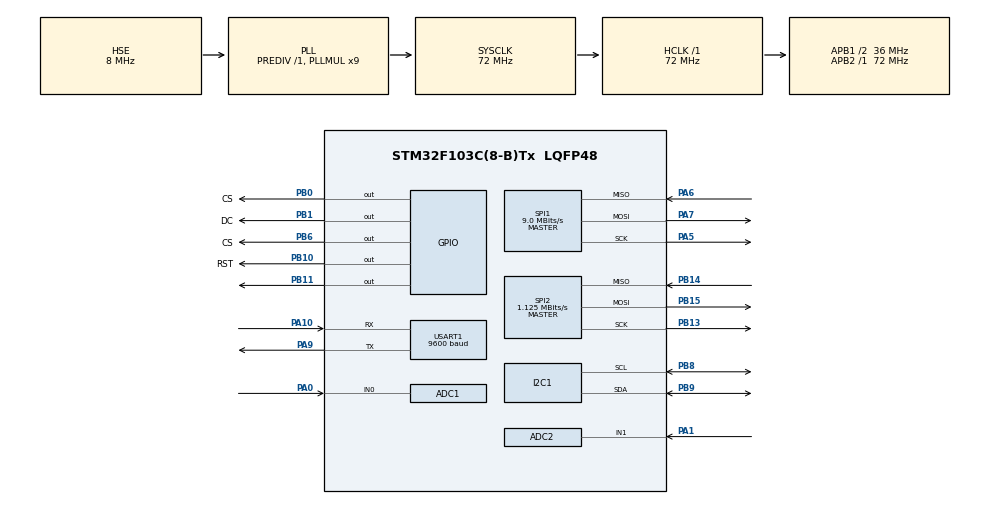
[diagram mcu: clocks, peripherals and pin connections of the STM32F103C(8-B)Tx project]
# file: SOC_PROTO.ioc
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ADC1.Channel-0\#ChannelRegularConversion=ADC_CHANNEL_0
ADC1.ContinuousConvMode=ENABLE
ADC1.NbrOfConversion=1
ADC1.NbrOfConversionFlag=1
ADC1.Rank-0\#ChannelRegularConversion=1
ADC1.SamplingTime-0\#ChannelRegularConversion=ADC_SAMPLETIME_71CYCLES_5
ADC1.master=1
ADC2.Channel-3\#ChannelRegularConversion=ADC_CHANNEL_1
ADC2.ContinuousConvMode=ENABLE
ADC2.NbrOfConversionFlag=1
ADC2.Rank-3\#ChannelRegularConversion=1
ADC2.SamplingTime-3\#ChannelRegularConversion=ADC_SAMPLETIME_71CYCLES_5
Dma.Request0=SPI2_RX
Dma.Request1=SPI2_TX
Dma.SPI2_RX.0.Direction=DMA_PERIPH_TO_MEMORY
Dma.SPI2_RX.0.Instance=DMA1_Channel4
Dma.SPI2_RX.0.MemDataAlignment=DMA_MDATAALIGN_BYTE
Dma.SPI2_RX.0.MemInc=DMA_MINC_ENABLE
Dma.SPI2_RX.0.Mode=DMA_NORMAL
Dma.SPI2_RX.0.PeriphDataAlignment=DMA_PDATAALIGN_BYTE
Dma.SPI2_RX.0.PeriphInc=DMA_PINC_DISABLE
Dma.SPI2_RX.0.Priority=DMA_PRIORITY_LOW
Dma.SPI2_TX.1.Direction=DMA_MEMORY_TO_PERIPH
Dma.SPI2_TX.1.Instance=DMA1_Channel5
Dma.SPI2_TX.1.MemDataAlignment=DMA_MDATAALIGN_BYTE
Dma.SPI2_TX.1.MemInc=DMA_MINC_ENABLE
Dma.SPI2_TX.1.Mode=DMA_NORMAL
Dma.SPI2_TX.1.PeriphDataAlignment=DMA_PDATAALIGN_BYTE
Dma.SPI2_TX.1.PeriphInc=DMA_PINC_DISABLE
Dma.SPI2_TX.1.Priority=DMA_PRIORITY_LOW
FATFS._USE_LABEL=1
FATFS._USE_LFN=3
Mcu.Family=STM32F1
Mcu.Name=STM32F103C(8-B)Tx
Mcu.Package=LQFP48
NVIC.DMA1_Channel4_IRQn=true\:0\:0\:false\:false\:true\:false\:true\:true
NVIC.DMA1_Channel5_IRQn=true\:0\:0\:false\:false\:true\:false\:true\:true
NVIC.PriorityGroup=NVIC_PRIORITYGROUP_4
PA0-WKUP.Signal=ADCx_IN0
PA1.Signal=ADCx_IN1
PA10.Mode=Asynchronous
PA10.Signal=USART1_RX
PA13.Mode=Serial_Wire
PA13.Signal=SYS_JTMS-SWDIO
PA14.Mode=Serial_Wire
PA14.Signal=SYS_JTCK-SWCLK
PA5.Mode=Full_Duplex_Master
PA5.Signal=SPI1_SCK
PA6.Mode=Full_Duplex_Master
PA6.Signal=SPI1_MISO
PA7.Mode=Full_Duplex_Master
PA7.Signal=SPI1_MOSI
PA9.Mode=Asynchronous
PA9.Signal=USART1_TX
PB0.GPIO_Label=CS
PB0.Signal=GPIO_Output
PB1.GPIO_Label=DC
PB1.Signal=GPIO_Output
PB10.GPIO_Label=RST
PB10.Signal=GPIO_Output
PB11.Signal=GPIO_Output
PB13.Mode=Full_Duplex_Master
PB13.Signal=SPI2_SCK
PB14.Mode=Full_Duplex_Master
PB14.Signal=SPI2_MISO
PB15.Mode=Full_Duplex_Master
PB15.Signal=SPI2_MOSI
PB6.GPIO_Label=CS
PB6.GPIO_Speed=GPIO_SPEED_FREQ_HIGH
PB6.PinState=GPIO_PIN_SET
PB6.Signal=GPIO_Output
PB8.Mode=I2C
PB8.Signal=I2C1_SCL
PB9.Mode=I2C
PB9.Signal=I2C1_SDA
PD0-OSC_IN.Mode=HSE-External-Oscillator
PD0-OSC_IN.Signal=RCC_OSC_IN
PD1-OSC_OUT.Mode=HSE-External-Oscillator
PD1-OSC_OUT.Signal=RCC_OSC_OUT
ProjectManager.HeapSize=0x200
ProjectManager.StackSize=0x400
ProjectManager.TargetToolchain=STM32CubeIDE
RCC.ADCPresc=RCC_ADCPCLK2_DIV6
RCC.AHBFreq_Value=72000000
RCC.APB1CLKDivider=RCC_HCLK_DIV2
RCC.APB1Freq_Value=36000000
RCC.APB1TimFreq_Value=72000000
RCC.APB2Freq_Value=72000000
RCC.APB2TimFreq_Value=72000000
RCC.HCLKFreq_Value=72000000
RCC.PLLMUL=RCC_PLL_MUL9
RCC.PLLSourceVirtual=RCC_PLLSOURCE_HSE
RCC.SYSCLKFreq_VALUE=72000000
RCC.SYSCLKSource=RCC_SYSCLKSOURCE_PLLCLK
RCC.USBFreq_Value=72000000
SH.ADCx_IN0.0=ADC1_IN0,IN0
SH.ADCx_IN1.0=ADC2_IN1,IN1
SPI1.BaudRatePrescaler=SPI_BAUDRATEPRESCALER_8
SPI1.CalculateBaudRate=9.0 MBits/s
SPI1.Direction=SPI_DIRECTION_2LINES
SPI1.Mode=SPI_MODE_MASTER
SPI1.VirtualType=VM_MASTER
SPI2.BaudRatePrescaler=SPI_BAUDRATEPRESCALER_32
SPI2.CalculateBaudRate=1.125 MBits/s
SPI2.Direction=SPI_DIRECTION_2LINES
SPI2.Mode=SPI_MODE_MASTER
SPI2.VirtualType=VM_MASTER
USART1.BaudRate=9600
USART1.VirtualMode=VM_ASYNC
VP_FATFS_VS_Generic.Mode=User_defined
board=custom

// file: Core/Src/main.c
/* USER CODE BEGIN Header */
/**
  ******************************************************************************
  * @file           : main.c
  ******************************************************************************
  * @attention
  *
  * Copyright (c) 2026 STMicroelectronics.
  * All rights reserved.
  *
  * This software is licensed under terms that can be found in the LICENSE file
  * in the root directory of this software component.
  * If no LICENSE file comes with this software, it is provided AS-IS.
  *
  ******************************************************************************
  */
/* USER CODE END Header */
#include "main.h"
#include "fatfs.h"

/* USER CODE BEGIN Includes */
#include "sd_functions.h"
#include "sd_spi.h"
#include "ekf_soc.h"
#include "tjc_hmi.h"
#include <stdio.h>
#include <string.h>
#include <math.h>
/* USER CODE END Includes */

/* USER CODE BEGIN PD */

#define HMI_REFRESH_INTERVAL_MS  1000U

/* adjustable: ADC / sensor scaling */
#define ADC_VREF                3.3f
#define ADC_MAX_COUNT           4095.0f
#define ADC_OVERSAMPLE_COUNT    64

#define VOLTAGE_DIVIDER_R1      180000.0f
#define VOLTAGE_DIVIDER_R2      10000.0f
#define VOLTAGE_DIVIDER_RATIO   ((VOLTAGE_DIVIDER_R1 + VOLTAGE_DIVIDER_R2) / VOLTAGE_DIVIDER_R2)

#define CURRENT_SENSOR_OFFSET       1.690f
#define CURRENT_SENSOR_SENSITIVITY  (0.033f * (3.3f/5.0f))

/* Pack LiFePO4 4S 100Ah (12.8 V nominal, 10.0-14.6 V operating range). */
#define BATT_CAPACITY_AH        100.0f  /* kapasitas nominal pack (Ah) */
#define BATT_RS_OHM             0.005f  /* estimasi resistansi pack 4S 100Ah (sel ~0.5 mOhm x4 + busbar/kabel/BMS); ukur untuk tuning */
#define VBATT_MIN_VALID         6.0f    /* di bawah ini dianggap baterai belum terpasang */

/* adjustable: re-sync SOC dari OCV saat baterai istirahat (anti SOC "terkunci") */
#define REST_CURRENT_A          2.0f    /* |I| di bawah ini dianggap istirahat (~C/50) */
#define REST_RESYNC_MS          30000U  /* lama istirahat sebelum dicek */
#define RESYNC_SOC_ERR          0.05f   /* beda SOC EKF vs OCV minimal utk re-sync (5%) */
#define RESYNC_EDGE_LO          0.25f   /* re-sync hanya di ujung kurva (OCV informatif), */
#define RESYNC_EDGE_HI          0.85f   /* bukan di tengah plateau LFP yang datar */

/* adjustable: SD card init */
#define SD_POWERUP_DELAY_MS     300
#define SD_INIT_RETRIES         5
#define SD_RETRY_DELAY_MS       200

/* adjustable: EMA smoothing */
#define VOLTAGE_EMA_ALPHA       0.08f
#define CURRENT_EMA_ALPHA       0.04f

/* adjustable: SD logger timing */
#define LOG_FILENAME             "LOG.CSV"
#define LOG_BUFFER_SAMPLES       1
#define LOG_LINE_MAXLEN          80
#define LOG_SYNC_EVERY_FLUSH     1
#define LOG_SAMPLE_DIV           100

/* adjustable: auto-zero sample count */
#define AUTOZERO_SAMPLES        500
#define AUTOZERO_FALLBACK       CURRENT_SENSOR_OFFSET

/* USER CODE END PD */

ADC_HandleTypeDef hadc1;
ADC_HandleTypeDef hadc2;

I2C_HandleTypeDef hi2c1;

SPI_HandleTypeDef hspi1;
SPI_HandleTypeDef hspi2;
DMA_HandleTypeDef hdma_spi2_rx;
DMA_HandleTypeDef hdma_spi2_tx;

UART_HandleTypeDef huart1;

/* USER CODE BEGIN PV */
volatile float voltage = 0.0f;
volatile float current = 0.0f;
volatile float soc_pct = 0.0f;   /* SOC (%) untuk Live Expressions */
volatile float soh_pct = 100.0f; /* SOH (%) */
volatile float v_internal_bat = 0.0f;
volatile uint8_t sys_bat_pct = 100;
volatile float vAdc2Raw = 0.0f;
static float adc1VoltFiltered = 0.0f;
static float adc2VoltFiltered = 0.0f;
static uint8_t emaInitialized = 0;
static float currentSensorOffset = AUTOZERO_FALLBACK;

static FIL      logFile;
static uint8_t  sdReady = 0;
static char     logChunk[LOG_BUFFER_SAMPLES * LOG_LINE_MAXLEN];
static uint16_t logChunkLen = 0;
static uint8_t  logSampleCount = 0;
static uint16_t logFlushCount = 0;
static uint32_t logTotalSamples = 0;
static uint32_t logTickOffset   = 0;

static char sdStatusStr[10] = "UNKNOWN";

static EKF_SOC_HandleTypeDef hekfSoc;
static uint32_t ekfLastTick = 0;
static uint32_t restStartTick = 0;

/* USER CODE END PV */

void SystemClock_Config(void);
static void MX_GPIO_Init(void);
static void MX_DMA_Init(void);
static void MX_ADC1_Init(void);
static void MX_ADC2_Init(void);
static void MX_SPI1_Init(void);
static void MX_SPI2_Init(void);
static void MX_USART1_UART_Init(void);
static void MX_I2C1_Init(void);
/* USER CODE BEGIN PFP */

static uint16_t ADC_ReadChannelAveraged(ADC_HandleTypeDef *hadc, uint32_t channel);
static void     FloatToStr(float value, char *buf, uint8_t decimals);
static uint8_t  SD_Logger_Init(void);
static void     SD_Logger_AddSample(float v, float i, float soc_pct);
static void     SD_Logger_Flush(void);
static void     AutoZero_Compute(void);
static void     EKF_SOC_ConfigureModel(EKF_SOC_HandleTypeDef *hekf);
static float    SocFromOcv_LUT(float v_pack);
/* USER CODE END PFP */

int main(void)
{

  /* USER CODE BEGIN 1 */
  uint16_t logSampleCounter = 0;
  uint32_t hmiLastRefresh = 0;
  /* USER CODE END 1 */

  /* MCU Configuration--------------------------------------------------------*/

  /* Reset of all peripherals, Initializes the Flash interface and the Systick. */
  HAL_Init();

  /* Configure the system clock */
  SystemClock_Config();

  /* Initialize all configured peripherals */
  MX_GPIO_Init();
  MX_DMA_Init();
  MX_ADC1_Init();
  MX_ADC2_Init();
  MX_SPI1_Init();
  MX_SPI2_Init();
  MX_USART1_UART_Init();
  MX_I2C1_Init();
  /* USER CODE BEGIN 2 */
  HAL_ADCEx_Calibration_Start(&hadc1);
  HAL_ADCEx_Calibration_Start(&hadc2);

  (void)TJC_HMI_DrawMonitor(0.0f, 0.0f, 0.0f, 100.0f, 100, 0U, sdStatusStr, "INIT");

  sdReady = SD_Logger_Init();
  HAL_Delay(600);

  (void)TJC_HMI_SetStatus("CALIB");
  AutoZero_Compute();
  (void)TJC_HMI_SetStatus("START");

  HAL_Delay(1000);

  /* EKF: ConfigureModel must run before Init */
  EKF_SOC_ConfigureModel(&hekfSoc);
  {
      uint16_t raw_soc_adc = ADC_ReadChannelAveraged(&hadc1, ADC_CHANNEL_0);
      adc1VoltFiltered = (float)raw_soc_adc * ADC_VREF / ADC_MAX_COUNT;
      adc2VoltFiltered = (float)ADC_ReadChannelAveraged(&hadc2, ADC_CHANNEL_1) * ADC_VREF / ADC_MAX_COUNT;
      emaInitialized = 1U;
      float v0   = adc1VoltFiltered * VOLTAGE_DIVIDER_RATIO;
      float soc0 = SocFromOcv_LUT(v0);   /* FIX: SOC awal dari tabel OCV LiFePO4 (bukan inversi polinomial) */
      float x0[2] = { 0.0f, soc0 };
      EKF_SOC_Init(&hekfSoc, x0);
  }
  ekfLastTick = HAL_GetTick();
  (void)TJC_HMI_SetStatus("READY");

  /* USER CODE END 2 */

  /* Infinite loop */
  /* USER CODE BEGIN WHILE */
  while (1)
  {
    uint16_t raw1 = ADC_ReadChannelAveraged(&hadc1, ADC_CHANNEL_0);
    uint16_t raw2 = ADC_ReadChannelAveraged(&hadc2, ADC_CHANNEL_1);

    float adc1Raw = (float)raw1 * ADC_VREF / ADC_MAX_COUNT;
    float adc2Raw = (float)raw2 * ADC_VREF / ADC_MAX_COUNT;

    if (!emaInitialized) {
        adc1VoltFiltered = adc1Raw;
        adc2VoltFiltered = adc2Raw;
        emaInitialized = 1;
    } else {
        adc1VoltFiltered += VOLTAGE_EMA_ALPHA * (adc1Raw - adc1VoltFiltered);
        adc2VoltFiltered += CURRENT_EMA_ALPHA * (adc2Raw - adc2VoltFiltered);
    }

    /* Read Internal System Battery on PA2 (10k+10k divider -> 2.0x) */
    {
        uint16_t raw_int = ADC_ReadChannelAveraged(&hadc1, ADC_CHANNEL_2);
        float v_pin2 = (float)raw_int * ADC_VREF / ADC_MAX_COUNT;
        v_internal_bat = v_pin2 * 2.0f;
        if (v_internal_bat >= 4.20f) sys_bat_pct = 100;
        else if (v_internal_bat <= 3.00f) sys_bat_pct = 0;
        else sys_bat_pct = (uint8_t)((v_internal_bat - 3.00f) / (4.20f - 3.00f) * 100.0f);
    }

    voltage  = adc1VoltFiltered * VOLTAGE_DIVIDER_RATIO;
    vAdc2Raw = adc2VoltFiltered;
    current  = (vAdc2Raw - currentSensorOffset) / CURRENT_SENSOR_SENSITIVITY;

    {
        uint32_t nowTick = HAL_GetTick();
        float Ts = (float)(nowTick - ekfLastTick) / 1000.0f;
        ekfLastTick = nowTick;
        if (Ts <= 0.0f) Ts = 0.01f;

        /* FIX: abaikan transien saat baterai belum terpasang / tegangan belum valid */
        if (voltage > VBATT_MIN_VALID)
            EKF_SOC_Update(&hekfSoc, current, voltage, Ts);

        /* FIX: re-sync SOC dari OCV bila istirahat lama & SOC EKF menyimpang jauh.
           Tanpa ini EKF bisa "terkunci" di SOC salah (P sudah mengecil, selisih tegangan
           diserap state Vc1). Hanya aktif di ujung kurva OCV (<25% atau >85%). */
        if (voltage > VBATT_MIN_VALID && fabsf(current) < REST_CURRENT_A) {
            if (restStartTick == 0U) restStartTick = nowTick;
            if ((nowTick - restStartTick) >= REST_RESYNC_MS) {
                float socV = SocFromOcv_LUT(voltage);
                float socE = EKF_SOC_GetSoC(&hekfSoc);
                if ((socV < RESYNC_EDGE_LO || socV > RESYNC_EDGE_HI) &&
                    fabsf(socV - socE) > RESYNC_SOC_ERR) {
                    static const float P0[4] = { 0.0001f, 0.0f, 0.0f, 0.01f };
                    EKF_SOC_Reset(&hekfSoc, socV, P0);
                }
                restStartTick = nowTick;   /* cek lagi 30 detik berikutnya */
            }
        } else {
            restStartTick = 0U;
        }

        soc_pct = EKF_SOC_GetSoC(&hekfSoc) * 100.0f;
        if (soc_pct < 0.0f)   soc_pct = 0.0f;
        if (soc_pct > 100.0f) soc_pct = 100.0f;
    }

    if ((HAL_GetTick() - hmiLastRefresh) >= HMI_REFRESH_INTERVAL_MS) {
        hmiLastRefresh = HAL_GetTick();
        (void)TJC_HMI_DrawMonitor(voltage, current, soc_pct, soh_pct, sys_bat_pct,
                                  logTotalSamples, sdStatusStr, "READY");
    }

    if (++logSampleCounter >= LOG_SAMPLE_DIV) {
        logSampleCounter = 0;
        SD_Logger_AddSample(voltage, current, soc_pct);
    }

    HAL_Delay(10);
    /* USER CODE END WHILE */

  }
}

void SystemClock_Config(void)
{
  RCC_OscInitTypeDef RCC_OscInitStruct = {0};
  RCC_ClkInitTypeDef RCC_ClkInitStruct = {0};
  RCC_PeriphCLKInitTypeDef PeriphClkInit = {0};

  /** Initializes the RCC Oscillators according to the specified parameters
  * in the RCC_OscInitTypeDef structure.
  */
  RCC_OscInitStruct.OscillatorType = RCC_OSCILLATORTYPE_HSE;
  RCC_OscInitStruct.HSEState = RCC_HSE_ON;
  RCC_OscInitStruct.HSEPredivValue = RCC_HSE_PREDIV_DIV1;
  RCC_OscInitStruct.HSIState = RCC_HSI_ON;
  RCC_OscInitStruct.PLL.PLLState = RCC_PLL_ON;
  RCC_OscInitStruct.PLL.PLLSource = RCC_PLLSOURCE_HSE;
  RCC_OscInitStruct.PLL.PLLMUL = RCC_PLL_MUL9;
  if (HAL_RCC_OscConfig(&RCC_OscInitStruct) != HAL_OK)
  {
    Error_Handler();
  }

  /** Initializes the CPU, AHB and APB buses clocks
  */
  RCC_ClkInitStruct.ClockType = RCC_CLOCKTYPE_HCLK|RCC_CLOCKTYPE_SYSCLK
                              |RCC_CLOCKTYPE_PCLK1|RCC_CLOCKTYPE_PCLK2;
  RCC_ClkInitStruct.SYSCLKSource = RCC_SYSCLKSOURCE_PLLCLK;
  RCC_ClkInitStruct.AHBCLKDivider = RCC_SYSCLK_DIV1;
  RCC_ClkInitStruct.APB1CLKDivider = RCC_HCLK_DIV2;
  RCC_ClkInitStruct.APB2CLKDivider = RCC_HCLK_DIV1;

  if (HAL_RCC_ClockConfig(&RCC_ClkInitStruct, FLASH_LATENCY_2) != HAL_OK)
  {
    Error_Handler();
  }
  PeriphClkInit.PeriphClockSelection = RCC_PERIPHCLK_ADC;
  PeriphClkInit.AdcClockSelection = RCC_ADCPCLK2_DIV6;
  if (HAL_RCCEx_PeriphCLKConfig(&PeriphClkInit) != HAL_OK)
  {
    Error_Handler();
  }
}

static void MX_ADC1_Init(void)
{

  ADC_ChannelConfTypeDef sConfig = {0};

  /** Common config
  */
  hadc1.Instance = ADC1;
  hadc1.Init.ScanConvMode = ADC_SCAN_DISABLE;
  hadc1.Init.ContinuousConvMode = ENABLE;
  hadc1.Init.DiscontinuousConvMode = DISABLE;
  hadc1.Init.ExternalTrigConv = ADC_SOFTWARE_START;
  hadc1.Init.DataAlign = ADC_DATAALIGN_RIGHT;
  hadc1.Init.NbrOfConversion = 1;
  if (HAL_ADC_Init(&hadc1) != HAL_OK)
  {
    Error_Handler();
  }

  /** Configure Regular Channel
  */
  sConfig.Channel = ADC_CHANNEL_0;
  sConfig.Rank = ADC_REGULAR_RANK_1;
  sConfig.SamplingTime = ADC_SAMPLETIME_71CYCLES_5;
  if (HAL_ADC_ConfigChannel(&hadc1, &sConfig) != HAL_OK)
  {
    Error_Handler();
  }

}

static void MX_ADC2_Init(void)
{

  ADC_ChannelConfTypeDef sConfig = {0};

  /** Common config
  */
  hadc2.Instance = ADC2;
  hadc2.Init.ScanConvMode = ADC_SCAN_DISABLE;
  hadc2.Init.ContinuousConvMode = ENABLE;
  hadc2.Init.DiscontinuousConvMode = DISABLE;
  hadc2.Init.ExternalTrigConv = ADC_SOFTWARE_START;
  hadc2.Init.DataAlign = ADC_DATAALIGN_RIGHT;
  hadc2.Init.NbrOfConversion = 1;
  if (HAL_ADC_Init(&hadc2) != HAL_OK)
  {
    Error_Handler();
  }

  /** Configure Regular Channel
  */
  sConfig.Channel = ADC_CHANNEL_1;
  sConfig.Rank = ADC_REGULAR_RANK_1;
  sConfig.SamplingTime = ADC_SAMPLETIME_71CYCLES_5;
  if (HAL_ADC_ConfigChannel(&hadc2, &sConfig) != HAL_OK)
  {
    Error_Handler();
  }

}

static void MX_I2C1_Init(void)
{

  hi2c1.Instance = I2C1;
  hi2c1.Init.ClockSpeed = 100000;
  hi2c1.Init.DutyCycle = I2C_DUTYCYCLE_2;
  hi2c1.Init.OwnAddress1 = 0;
  hi2c1.Init.AddressingMode = I2C_ADDRESSINGMODE_7BIT;
  hi2c1.Init.DualAddressMode = I2C_DUALADDRESS_DISABLE;
  hi2c1.Init.OwnAddress2 = 0;
  hi2c1.Init.GeneralCallMode = I2C_GENERALCALL_DISABLE;
  hi2c1.Init.NoStretchMode = I2C_NOSTRETCH_DISABLE;
  if (HAL_I2C_Init(&hi2c1) != HAL_OK)
  {
    Error_Handler();
  }

}

static void MX_SPI1_Init(void)
{

  /* SPI1 parameter configuration*/
  hspi1.Instance = SPI1;
  hspi1.Init.Mode = SPI_MODE_MASTER;
  hspi1.Init.Direction = SPI_DIRECTION_2LINES;
  hspi1.Init.DataSize = SPI_DATASIZE_8BIT;
  hspi1.Init.CLKPolarity = SPI_POLARITY_LOW;
  hspi1.Init.CLKPhase = SPI_PHASE_1EDGE;
  hspi1.Init.NSS = SPI_NSS_SOFT;
  hspi1.Init.BaudRatePrescaler = SPI_BAUDRATEPRESCALER_8;
  hspi1.Init.FirstBit = SPI_FIRSTBIT_MSB;
  hspi1.Init.TIMode = SPI_TIMODE_DISABLE;
  hspi1.Init.CRCCalculation = SPI_CRCCALCULATION_DISABLE;
  hspi1.Init.CRCPolynomial = 10;
  if (HAL_SPI_Init(&hspi1) != HAL_OK)
  {
    Error_Handler();
  }

}

static void MX_SPI2_Init(void)
{

  /* SPI2 parameter configuration*/
  hspi2.Instance = SPI2;
  hspi2.Init.Mode = SPI_MODE_MASTER;
  hspi2.Init.Direction = SPI_DIRECTION_2LINES;
  hspi2.Init.DataSize = SPI_DATASIZE_8BIT;
  hspi2.Init.CLKPolarity = SPI_POLARITY_LOW;
  hspi2.Init.CLKPhase = SPI_PHASE_1EDGE;
  hspi2.Init.NSS = SPI_NSS_SOFT;
  hspi2.Init.BaudRatePrescaler = SPI_BAUDRATEPRESCALER_32;
  hspi2.Init.FirstBit = SPI_FIRSTBIT_MSB;
  hspi2.Init.TIMode = SPI_TIMODE_DISABLE;
  hspi2.Init.CRCCalculation = SPI_CRCCALCULATION_DISABLE;
  hspi2.Init.CRCPolynomial = 10;
  if (HAL_SPI_Init(&hspi2) != HAL_OK)
  {
    Error_Handler();
  }

}

static void MX_USART1_UART_Init(void)
{

  huart1.Instance = USART1;
  huart1.Init.BaudRate = 9600;
  huart1.Init.WordLength = UART_WORDLENGTH_8B;
  huart1.Init.StopBits = UART_STOPBITS_1;
  huart1.Init.Parity = UART_PARITY_NONE;
  huart1.Init.Mode = UART_MODE_TX_RX;
  huart1.Init.HwFlowCtl = UART_HWCONTROL_NONE;
  huart1.Init.OverSampling = UART_OVERSAMPLING_16;
  if (HAL_UART_Init(&huart1) != HAL_OK)
  {
    Error_Handler();
  }

}

static void MX_DMA_Init(void)
{

  /* DMA controller clock enable */
  __HAL_RCC_DMA1_CLK_ENABLE();

  /* DMA interrupt init */
  /* DMA1_Channel4_IRQn interrupt configuration */
  HAL_NVIC_SetPriority(DMA1_Channel4_IRQn, 0, 0);
  HAL_NVIC_EnableIRQ(DMA1_Channel4_IRQn);
  /* DMA1_Channel5_IRQn interrupt configuration */
  HAL_NVIC_SetPriority(DMA1_Channel5_IRQn, 0, 0);
  HAL_NVIC_EnableIRQ(DMA1_Channel5_IRQn);

}

static void MX_GPIO_Init(void)
{
  GPIO_InitTypeDef GPIO_InitStruct = {0};

  /* GPIO Ports Clock Enable */
  __HAL_RCC_GPIOD_CLK_ENABLE();
  __HAL_RCC_GPIOA_CLK_ENABLE();
  __HAL_RCC_GPIOB_CLK_ENABLE();

  /*Configure GPIO pin Output Level */
  HAL_GPIO_WritePin(GPIOB, CS_Pin|DC_Pin|RST_Pin|GPIO_PIN_11, GPIO_PIN_RESET);

  /*Configure GPIO pin Output Level */
  HAL_GPIO_WritePin(CSB6_GPIO_Port, CSB6_Pin, GPIO_PIN_SET);

  /*Configure GPIO pins : CS_Pin DC_Pin RST_Pin PB11 */
  GPIO_InitStruct.Pin = CS_Pin|DC_Pin|RST_Pin|GPIO_PIN_11;
  GPIO_InitStruct.Mode = GPIO_MODE_OUTPUT_PP;
  GPIO_InitStruct.Pull = GPIO_NOPULL;
  GPIO_InitStruct.Speed = GPIO_SPEED_FREQ_LOW;
  HAL_GPIO_Init(GPIOB, &GPIO_InitStruct);

  /*Configure GPIO pin : CSB6_Pin */
  GPIO_InitStruct.Pin = CSB6_Pin;
  GPIO_InitStruct.Mode = GPIO_MODE_OUTPUT_PP;
  GPIO_InitStruct.Pull = GPIO_NOPULL;
  GPIO_InitStruct.Speed = GPIO_SPEED_FREQ_HIGH;
  HAL_GPIO_Init(CSB6_GPIO_Port, &GPIO_InitStruct);

/* USER CODE BEGIN MX_GPIO_Init_2 */
  /* FIX: PA2 = ADC channel 2 (baterai internal) harus mode analog */
  GPIO_InitStruct.Pin  = GPIO_PIN_2;
  GPIO_InitStruct.Mode = GPIO_MODE_ANALOG;
  HAL_GPIO_Init(GPIOA, &GPIO_InitStruct);
/* USER CODE END MX_GPIO_Init_2 */
}

/* USER CODE BEGIN 4 */

static uint16_t ADC_ReadChannelAveraged(ADC_HandleTypeDef *hadc, uint32_t channel)
{
    ADC_ChannelConfTypeDef sConfig = {0};
    sConfig.Channel = channel;
    sConfig.Rank = ADC_REGULAR_RANK_1;
    sConfig.SamplingTime = ADC_SAMPLETIME_71CYCLES_5;
    HAL_ADC_ConfigChannel(hadc, &sConfig);

    uint32_t sum = 0;
    uint8_t  valid = 0;
    for (uint8_t i = 0; i < ADC_OVERSAMPLE_COUNT; i++) {
        HAL_ADC_Start(hadc);
        if (HAL_ADC_PollForConversion(hadc, 100) == HAL_OK) {
            sum += HAL_ADC_GetValue(hadc);
            valid++;
        }
        HAL_ADC_Stop(hadc);
    }
    return valid ? (uint16_t)(sum / valid) : 0;
}

static void FloatToStr(float value, char *buf, uint8_t decimals)
{
    int32_t scale = 1;
    for (uint8_t i = 0; i < decimals; i++) scale *= 10;

    uint8_t neg    = (value < 0.0f);
    float   absVal = neg ? -value : value;
    int32_t scaled = (int32_t)(absVal * scale + 0.5f);
    int32_t whole  = scaled / scale;
    int32_t frac   = scaled % scale;

    sprintf(buf, "%s%ld.%0*ld", neg ? "-" : "", (long)whole, decimals, (long)frac);
}

/* Tabel OCV (tegangan istirahat) pack LiFePO4 4S -> SOC. Dipakai utk SOC awal. */
static float SocFromOcv_LUT(float v_pack)
{
    static const float V[] = {12.00f, 12.85f, 12.95f, 13.04f, 13.12f, 13.19f,
                              13.25f, 13.29f, 13.33f, 13.38f, 13.55f};
    static const float S[] = { 0.0f,  0.1f,   0.2f,   0.3f,   0.4f,   0.5f,
                               0.6f,  0.7f,   0.8f,   0.9f,   1.0f};
    const uint8_t N = 11;

    if (v_pack <= V[0])   return 0.0f;
    if (v_pack >= V[N-1]) return 1.0f;
    for (uint8_t k = 1; k < N; k++) {
        if (v_pack < V[k])
            return S[k-1] + (S[k] - S[k-1]) * (v_pack - V[k-1]) / (V[k] - V[k-1]);
    }
    return 1.0f;
}

static void AutoZero_Compute(void)
{
    double   acc   = 0.0;
    uint16_t valid = 0;

    for (uint16_t s = 1; s <= AUTOZERO_SAMPLES; s++) {
        uint16_t raw  = ADC_ReadChannelAveraged(&hadc2, ADC_CHANNEL_1);
        float    vRaw = (float)raw * ADC_VREF / ADC_MAX_COUNT;
        acc += (double)vRaw;
        valid++;

        HAL_Delay(10);
    }

    if (valid > 0) {
        currentSensorOffset = (float)(acc / (double)valid);
    }
}

/* FIX: ganti prescaler SPI2 saat runtime (init SD wajib <= 400 kHz) */
static void SD_SetSpiPrescaler(uint32_t prescaler)
{
    __HAL_SPI_DISABLE(&hspi2);
    MODIFY_REG(hspi2.Instance->CR1, SPI_CR1_BR, prescaler);
    __HAL_SPI_ENABLE(&hspi2);
}

static uint8_t SD_Logger_Init(void)
{
    extern char sd_path[4];
    FRESULT res = FR_NOT_READY;
    uint8_t attempt;

    /* FIX: beri waktu kartu SD menyala setelah power-up (cold start lewat USB) */
    HAL_Delay(SD_POWERUP_DELAY_MS);

    for (attempt = 0; attempt < SD_INIT_RETRIES; attempt++) {
        SD_SetSpiPrescaler(SPI_BAUDRATEPRESCALER_32);   /* 8 MHz/32 = 250 kHz */
        res = sd_mount();
        if (res != FR_NOT_READY) break;
        FATFS_UnLinkDriver(sd_path);                    /* supaya sd_mount() bisa dicoba lagi */
        HAL_Delay(SD_RETRY_DELAY_MS);
    }
    SD_SetSpiPrescaler(SPI_BAUDRATEPRESCALER_4);        /* kembali ke 2 MHz utk logging */

    if (res == FR_NOT_READY) {
        if      (sd_init_error == SD_INIT_ERR_CMD0)   strcpy(sdStatusStr, "NO CARD");
        else if (sd_init_error == SD_INIT_ERR_ACMD41) strcpy(sdStatusStr, "TIMEOUT");
        else                                            strcpy(sdStatusStr, "ERROR");
        return 0;
    }

    if (res != FR_OK) {
        strcpy(sdStatusStr, "NO FAT");
        return 0;
    }

    FRESULT fres = f_open(&logFile, LOG_FILENAME, FA_OPEN_ALWAYS | FA_WRITE);
    if (fres != FR_OK) {
        strcpy(sdStatusStr, "OPEN ERR");
        return 0;
    }

    if (f_size(&logFile) == 0) {
        UINT bw;
        const char *hdr = "Timestamp_s,Voltage_V,Current_A,Power_W,SoC_pct,SoH_pct\r\n";
        f_write(&logFile, hdr, strlen(hdr), &bw);
        f_sync(&logFile);
    } else {
        f_lseek(&logFile, f_size(&logFile));
    }

    strcpy(sdStatusStr, "READY");
    return 1;
}

static void SD_Logger_AddSample(float v, float i, float soc_pct)
{
    if (!sdReady) return;

    if (logChunkLen + LOG_LINE_MAXLEN >= sizeof(logChunk)) {
        SD_Logger_Flush();
        if (!sdReady) return;
    }

    uint32_t now = HAL_GetTick();

    if (logTotalSamples == 0 && logSampleCount == 0) {
        logTickOffset = now;
    }

    uint32_t elapsed_s = (now - logTickOffset) / 1000UL;
    float power_w = v * i;

    char vStr[12], iStr[12], pwrStr[12], socStr[12], sohStr[12];
    FloatToStr(v, vStr, 3);
    FloatToStr(i, iStr, 3);
    FloatToStr(power_w, pwrStr, 2);
    FloatToStr(soc_pct, socStr, 2);
    FloatToStr(soh_pct, sohStr, 2);

    int n = snprintf(&logChunk[logChunkLen], sizeof(logChunk) - logChunkLen,
                      "%lu,%s,%s,%s,%s,%s\r\n",
                      (unsigned long)elapsed_s, vStr, iStr, pwrStr, socStr, sohStr);

    if (n > 0) logChunkLen += (uint16_t)n;

    if (++logSampleCount >= LOG_BUFFER_SAMPLES) SD_Logger_Flush();
}

static void SD_Logger_Flush(void)
{
    if (!sdReady || logChunkLen == 0) { logSampleCount = 0; return; }

    UINT bw;
    FRESULT res = f_write(&logFile, logChunk, logChunkLen, &bw);

    if (res != FR_OK || bw != logChunkLen) {
        strcpy(sdStatusStr, "WRITE ERR");
        sdReady = 0;
    } else {
        logTotalSamples += logSampleCount;
        if (++logFlushCount >= LOG_SYNC_EVERY_FLUSH) {
            f_sync(&logFile);
            logFlushCount = 0;
        }
    }

    logChunkLen    = 0;
    logSampleCount = 0;
}

/* adjustable: EKF battery model / tuning — the one function to edit */
static void EKF_SOC_ConfigureModel(EKF_SOC_HandleTypeDef *hekf)
{
    /* Kapasitas (Ah) dipakai utk coulomb counting dan C-rate */
    hekf->Qn_for_rho = BATT_CAPACITY_AH;

    hekf->rho_lo = 0.0f;
    hekf->rho_hi = 1.0f;          /* C-rate; A_lo == A_hi jadi interpolasi tidak berpengaruh */

    hekf->A_lo[0] = -0.02f;  hekf->A_lo[1] = 0.0f;
    hekf->A_lo[2] = 0.0f;    hekf->A_lo[3] = 0.0f;
    hekf->A_hi[0] = -0.02f;  hekf->A_hi[1] = 0.0f;
    hekf->A_hi[2] = 0.0f;    hekf->A_hi[3] = 0.0f;

    hekf->B_lo[0] = 0.0002f;
    hekf->B_lo[1] = -1.0f / (3600.0f * hekf->Qn_for_rho);
    hekf->B_hi[0] = 0.0002f;
    hekf->B_hi[1] = hekf->B_lo[1];

    hekf->Rs_lo = BATT_RS_OHM;
    hekf->Rs_hi = BATT_RS_OHM;

    hekf->C0[0] = -1.0f;
    hekf->C0[1] =  0.0f;

    /* FIX: OCV pack LiFePO4 4S 100Ah (tegangan istirahat 12.0 V @0% .. 13.55 V @100%),
       polinomial orde 5, koefisien urut dari pangkat tertinggi.
       Plateau tengah datar (turunan kecil) -> koreksi tegangan lemah,
       coulomb counting dominan (disengaja). */
    hekf->ocvCoeffs[0] = 41.826923f;   hekf->ocvCoeffs[1] = -114.678030f;
    hekf->ocvCoeffs[2] = 116.864073f;  hekf->ocvCoeffs[3] = -54.533872f;
    hekf->ocvCoeffs[4] = 12.062550f;   hekf->ocvCoeffs[5] = 12.017919f;
    hekf->ocvOrder     = 5;
    hekf->dOcvCoeffs[0] = 209.134615f; hekf->dOcvCoeffs[1] = -458.712121f;
    hekf->dOcvCoeffs[2] = 350.592220f; hekf->dOcvCoeffs[3] = -109.067745f;
    hekf->dOcvCoeffs[4] = 12.062550f;
    hekf->dOcvOrder     = 4;

    hekf->Q[0] = 0.000001f; hekf->Q[1] = 0.0f;
    hekf->Q[2] = 0.0f;      hekf->Q[3] = 1.0e-10f;   /* derau proses SOC kecil agar coulomb counting dominan, tegangan hanya koreksi pelan */
    hekf->R    = 0.01f;      /* dinaikkan agar SOC tidak terlalu mengikuti noise tegangan */

    hekf->P[0] = 0.0001f; hekf->P[1] = 0.0f;
    hekf->P[2] = 0.0f;    hekf->P[3] = 0.01f;
}

/* USER CODE END 4 */

void Error_Handler(void)
{
  __disable_irq();
  while (1)
  {
  }
}
